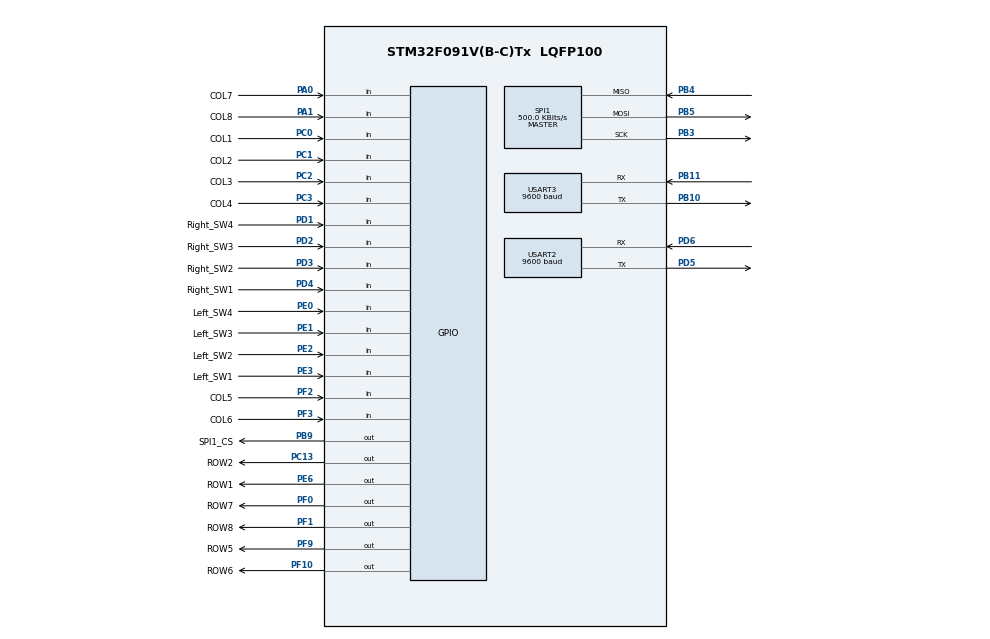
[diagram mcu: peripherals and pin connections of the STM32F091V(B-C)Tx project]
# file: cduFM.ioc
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Mcu.Family=STM32F0
Mcu.Name=STM32F091V(B-C)Tx
Mcu.Package=LQFP100
NVIC.RCC_CRS_IRQn=true\:0\:0\:false\:false\:true\:true\:false\:true
NVIC.USART2_IRQn=true\:0\:0\:false\:false\:true\:true\:true\:true
NVIC.USART3_8_IRQn=true\:0\:0\:false\:false\:true\:true\:true\:true
PA0.GPIO_Label=COL7
PA0.Signal=GPIO_Input
PA1.GPIO_Label=COL8
PA1.Signal=GPIO_Input
PA13.Mode=Serial_Wire
PA13.Signal=SYS_SWDIO
PA14.Mode=Serial_Wire
PA14.Signal=SYS_SWCLK
PB10.Mode=Asynchronous
PB10.Signal=USART3_TX
PB11.Mode=Asynchronous
PB11.Signal=USART3_RX
PB3.Mode=Full_Duplex_Master
PB3.Signal=SPI1_SCK
PB4.Mode=Full_Duplex_Master
PB4.Signal=SPI1_MISO
PB5.Mode=Full_Duplex_Master
PB5.Signal=SPI1_MOSI
PB9.GPIO_FM9=__NULL
PB9.GPIO_Label=SPI1_CS
PB9.GPIO_Speed=GPIO_SPEED_FREQ_LOW
PB9.PinState=GPIO_PIN_SET
PB9.Signal=GPIO_Output
PC0.GPIO_Label=COL1
PC0.Signal=GPIO_Input
PC1.GPIO_Label=COL2
PC1.Signal=GPIO_Input
PC13.GPIO_Label=ROW2
PC13.PinState=GPIO_PIN_SET
PC13.Signal=GPIO_Output
PC14OSC32_IN.GPIO_Label=ROW3
PC14OSC32_IN.PinState=GPIO_PIN_SET
PC14OSC32_IN.Signal=GPIO_Output
PC15OSC32_OUT.GPIO_Label=ROW4
PC15OSC32_OUT.PinState=GPIO_PIN_SET
PC15OSC32_OUT.Signal=GPIO_Output
PC2.GPIO_Label=COL3
PC2.Signal=GPIO_Input
PC3.GPIO_Label=COL4
PC3.Signal=GPIO_Input
PD1.GPIO_Label=Right_SW4
PD1.Signal=GPIO_Input
PD2.GPIO_Label=Right_SW3
PD2.Signal=GPIO_Input
PD3.GPIO_Label=Right_SW2
PD3.Signal=GPIO_Input
PD4.GPIO_Label=Right_SW1
PD4.Signal=GPIO_Input
PD5.Mode=Asynchronous
PD5.Signal=USART2_TX
PD6.GPIO_PuPd=GPIO_PULLUP
PD6.Mode=Asynchronous
PD6.Signal=USART2_RX
PE0.GPIO_Label=Left_SW4
PE0.Signal=GPIO_Input
PE1.GPIO_Label=Left_SW3
PE1.Signal=GPIO_Input
PE2.GPIO_Label=Left_SW2
PE2.Signal=GPIO_Input
PE3.GPIO_Label=Left_SW1
PE3.Signal=GPIO_Input
PE6.GPIO_Label=ROW1
PE6.PinState=GPIO_PIN_SET
PE6.Signal=GPIO_Output
PF0-OSC_IN.GPIO_Label=ROW7
PF0-OSC_IN.PinState=GPIO_PIN_SET
PF0-OSC_IN.Signal=GPIO_Output
PF1-OSC_OUT.GPIO_Label=ROW8
PF1-OSC_OUT.PinState=GPIO_PIN_SET
PF1-OSC_OUT.Signal=GPIO_Output
PF10.GPIO_Label=ROW6
PF10.PinState=GPIO_PIN_SET
PF10.Signal=GPIO_Output
PF2.GPIO_Label=COL5
PF2.Signal=GPIO_Input
PF3.GPIO_Label=COL6
PF3.Signal=GPIO_Input
PF9.GPIO_Label=ROW5
PF9.PinState=GPIO_PIN_SET
PF9.Signal=GPIO_Output
ProjectManager.HeapSize=0x200
ProjectManager.StackSize=0x400
ProjectManager.TargetToolchain=STM32CubeIDE
SPI1.BaudRatePrescaler=SPI_BAUDRATEPRESCALER_16
SPI1.CalculateBaudRate=500.0 KBits/s
SPI1.DataSize=SPI_DATASIZE_8BIT
SPI1.Direction=SPI_DIRECTION_2LINES
SPI1.Mode=SPI_MODE_MASTER
SPI1.VirtualType=VM_MASTER
USART2.BaudRate=9600
USART2.VirtualMode-Asynchronous=VM_ASYNC
USART3.BaudRate=9600
USART3.VirtualMode-Asynchronous=VM_ASYNC
board=custom

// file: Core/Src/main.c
/* USER CODE BEGIN Header */
/**
  ******************************************************************************
  * @file           : main.c
  * @brief          : Main program body
  ******************************************************************************
  * @attention
  *
  * Copyright (c) 2024 STMicroelectronics.
  * All rights reserved.
  *
  * This software is licensed under terms that can be found in the LICENSE file
  * in the root directory of this software component.
  * If no LICENSE file comes with this software, it is provided AS-IS.
  *
  ******************************************************************************
  */
/* USER CODE END Header */
#include "main.h"
#include "spi.h"
#include "spif.h"
#include "usart.h"
#include "gpio.h"

#include "NAVScreen.h"
#include "ADFScreen.h"

#define FLASHUPDATEDELAY 10000	//update flash after 10 whenever there is a change in any value.

SPIF_HandleTypeDef spif;

globalvar_t gVar;
uint8_t read[1];
uint8_t write[1];

/* USER CODE BEGIN PV */
SerialStruct BuffUART2;
SerialStruct BuffUART3;

ScreenParams NavScreenParams;
ScreenParams AdfScreenParams;

extern lcdCmdDisp_id currentScreen, NextScreen;

softKey_t softKey;

extern MkeyStatus_t MkeyStatus;
extern keyPad_t keyPad;
/* USER CODE END PV */

void SystemClock_Config(void);

/* USER CODE BEGIN 0 */
uint8_t UART_ReceivString(SerialStruct * BuffUART, char *str, int NumChar) {

	int Head = BuffUART->RXindex, istr = 0;;
//	for (int i = 0; i< BUFLENMASK; i++){
//		if (BuffUART->RXbuffer[(Head+i+1) & (BUFLENMASK)] == '$') break;
//		Head ++;
//	}
	if (Head < BuffUART->RXTail) Head += MAXBUFLEN;
	for (int i = BuffUART->RXTail; i < Head; i++){
		if(BuffUART->RXbuffer[i] == '$') istr = 0;
		str[istr++] = BuffUART->RXbuffer[i];
		if ((BuffUART->RXbuffer[i & (BUFLENMASK)] == '\n') || (istr > NumChar)){
			str[istr++] = '\r';
			str[istr] = 0;
			BuffUART->RXTail = i+1;
			return istr;
		}
	}
	return 0;
//	uint8_t n = 0;
//
//	n = (BuffUART->RXindex - BuffUART->RXTail) & (BUFLENMASK);
//
//	if((n < NumChar) || (NumChar <= 0)){
//		return 0;
//	}
//
//	n = 0;
//
//	while (NumChar--)
//	{
//		str[n++] = BuffUART->RXbuffer[BuffUART->RXTail++];
//	}
//	return NumChar;
}

void UART_SendString(UART_HandleTypeDef *huart, SerialStruct * BuffUART, const char *str, int NumChar) {

	uint8_t n = 0;

	BuffUART->TXbuflen = NumChar;//= strlen(str);
	while (BuffUART->TXbuflen > (MAXBUFLEN - BuffUART->LoadIndex));

	while (BuffUART->TXbuflen--)
	{
		BuffUART->TXbuffer[BuffUART->LoadIndex++] = str[n++];
	}

	// Start transmission if this is first byte in buffer
	if(BuffUART->TXindex == 0)
	{
		if (huart->Instance == USART2)
		{
			huart2.Instance->TDR = BuffUART->TXbuffer[BuffUART->TXindex++];
			__HAL_UART_ENABLE_IT(&huart2, UART_IT_TXE);
		}
		else if (huart->Instance == USART3)
		{
			huart3.Instance->TDR = BuffUART->TXbuffer[BuffUART->TXindex++];
			__HAL_UART_ENABLE_IT(&huart3, UART_IT_TXE);
		}
	}

    //uint16_t len = strlen(str);
    //for (uint16_t i = 0; i < len; i++) {
    //    uint16_t BuffUART.next_head = (tx_head + 1) % UART_BUFFER_SIZE;
    //    while (next_head == tx_tail); // Wait if buffer is full
    //    tx_buffer[tx_head] = str[i];
    //    tx_head = next_head;
    //}
    //__HAL_UART_ENABLE_IT(&huart1, UART_IT_TXE); // Enable TXE interrupt
}

//void toDisplay() {						//reads sectors from the SPI flash memory and updates the eepDisplay
//	for (int i = 0; i < 16; ++i) {
//		eepDisplay[i] = -1;
//	}
//	count = 0;
//	for (int i = 0; i < 16; i++) {
//		SPIF_ReadSector(&spif, i, read, 1, 0);
//		if (read[0] != 255) {
//			eepDisplay[count] = i;
//			count++;
//		}
//	}
//}

//void toAdd(const char* dN, int dM, int dK) {		//adds a new entry to the first available empty sector in the SPI flash memory
//  for (int i = 0; i < 16; i ++) {
//	SPIF_ReadSector(&spif, i, read, 1, 0);
//    if (read[0] == 255) {
//      for (int j = 0; j < 7; j++) {
//    	write[0] = dN[j];
//    	SPIF_WriteSector(&spif, i, write, 1, j);
//      }
//	  write[0] = dM;
//	  SPIF_WriteSector(&spif, i, write, 1, 7);
//	  write[0] = dK/25;
//	  SPIF_WriteSector(&spif, i, write, 1, 8);
//      break;
//    }
//  }
//}

//void toDelete(int index) {		//erases a specific sector in the SPI flash memory, effectively marking it as empty.
//	SPIF_EraseSector(&spif, index);
//}
//
//void storestate() { // called when turned off			stores the current state of the system in a specific sector of the SPI flash memory.
//  SPIF_EraseSector(&spif, 20);
//  write[0] = MHz;
//  SPIF_WriteSector(&spif, 20, write, 1, 0);
//  write[0] = KHz/25;
//  SPIF_WriteSector(&spif, 20, write, 1, 1);
//  write[0] = SM;
//  SPIF_WriteSector(&spif, 20, write, 1, 2);
//  write[0] = SK/25;
//  SPIF_WriteSector(&spif, 20, write, 1, 3);
//  write[0] = vol;
//  SPIF_WriteSector(&spif, 20, write, 1, 4);
//  write[0] = obs;
//}

//void loadstate() { // called on startup					loads the system state from a specific sector in the SPI flash memory on startup.
//  SPIF_ReadSector(&spif, 20, read, 1, 0);
//  MHz = read[0];
//  if (MHz > 117) MHz = 117;
//  if (MHz < 108) MHz = 108;
//  SPIF_ReadSector(&spif, 20, read, 1, 1);
//  KHz = read[0] * 25;
//  if(KHz > 950) KHz = 950;
//  SPIF_ReadSector(&spif, 20, read, 1, 2);
//  SM = read[0];
//  if (SM > 117) SM = 117;
//  if (SM < 108) SM = 108;
//  SPIF_ReadSector(&spif, 20, read, 1, 3);
//  SK = read[0] * 25;
//  if(SK > 950) SK = 950;
//  SPIF_ReadSector(&spif, 20, read, 1, 4);	//1 is not bytes to be read
//  vol = read[0];
//  SPIF_ReadSector(&spif, 20, read, 1, 5);	//5 is Offset: The starting point within the sector to begin reading from.
//  obs = read[0];
//  freq = MHz + (.001 * KHz);
//  Standby = SM + (.001 * SK);
//}

void MhzKhz2freq(int MHz, int KHz, double* freq){
	if (freq != NULL) {
        *freq = MHz + (KHz / 1000.0);
    }
}

void freq2MhzKhz(double num, volatile int *MHz, volatile int *KHz) {
	*MHz = (int)num; // Integer part as MHz
	*KHz = (int)((num - *MHz) * 1000 + 0.5); // Fractional part as kHz
}

void checksum(const char* str, char* result) {	//calculates a checksum from a given string and stores the result in a character array
    unsigned int sum = 0;
    const char* ptr = str;

    if (*ptr != '\0') {
        ptr += 6;			//starting after the first 6 characters (possibly skipping a header like e.g: "$PATCN")
    }

    while (*ptr != '\0') {//// Loop through the rest of the string
        sum += *ptr;		 // Sum up the ASCII values of the characters
        ptr++;
    }

    sum &= 0xFF;	// Keep only the least significant byte of the sum

    result[0] = ((sum >> 4) & 0xF) + 0x30;	// Convert high nibble (4 bits) to ASCII
    result[1] = (sum & 0xF) + 0x30;			// Convert low nibble (4 bits) to ASCII

    result[2] = '\0';
}

void concatTwoChars(char* base, const char* woo) {
    while (*base) { // Move to the end of the base string
        base++;
    }
    while (*woo) { // Copy the characters from toAdd
        *base = *woo;
        base++;
        woo++;
    }
    *base = '\0'; // Null terminate the resulting string
}

void Sender2rcu(const char * str, int mode) { //TODO				construct and send a message (likely over UART)
    char crlf[] = {'\r','\n', 0};
    uint8_t str2[25]; // Array to hold the constructed string in ASCII

    memset(str2, 0, sizeof(str2)); // Initialize the array with zeros

    if (mode == 0) {
        char m = str[0];
        char k = str[1];
        snprintf((char*)str2, sizeof(str2), "$PATCN27%c%cN", m, k);
        char end2[3];
        checksum((char*)str2, end2);
        concatTwoChars((char*)str2, end2);
        concatTwoChars((char*)str2, crlf);
    } else if (mode == 1) {
        char m = str[0];
        char k = str[1];
        snprintf((char*)str2, sizeof(str2), "$PATCN28%c%cN", m, k);
        char end3[3];
        checksum((char*)str2, end3);
        concatTwoChars((char*)str2, end3);
        concatTwoChars((char*)str2, crlf);
    } else if (mode == 2) {
        char v = str[0];
        snprintf((char*)str2, sizeof(str2), "$PATCN73%c", v);
        char end4[3];
        checksum((char*)str2, end4);
        concatTwoChars((char*)str2, end4);
        concatTwoChars((char*)str2, crlf);
    } else if (mode == 3) {
//        snprintf((char*)str2, sizeof(str2), "$PATCN34%03d", obs);
//        char end5[3];
//        checksum((char*)str2, end5);
//        concatTwoChars((char*)str2, end5);
        concatTwoChars((char*)str2, crlf);
    }

    UART_SendString(&huart3, &BuffUART3, str2, strlen((char*)str2));
}

bool Test_Pattern (char * msg, char * pattern) {
	if(*msg != *pattern) return false;
	if(*(msg+1) != *(pattern+1)) return false;
	return true;
}

void decodeCduMessage(void )
{
	uint16_t rxBuffLen;
	char rxBuffer[20];
	bool rxfreercu = false;
	rxBuffLen = UART_ReceivString(&BuffUART3, rxBuffer, sizeof(rxBuffer));

	if(rxBuffLen > 0 && rxBuffer[0] == '$' && rxBuffer[1] == 'P' && rxBuffer[2] == 'A' && rxBuffer[3] == 'T' && rxBuffer[4] == 'C')
	{
	  rxfreercu = true;
	}

	if(rxfreercu)
	{
		rxfreercu = false;
	  if(rxBuffer[5] == 'N')
	  {
		  if(Test_Pattern(&rxBuffer[6], "27"))
		  {
			  float rxfreq;
			  rxfreq = (rxBuffer[8] + 48) + ((rxBuffer[9] - 48) * .025); // active frequency
			  if (rxfreq != NavScreenParams.Active.freq)
			  {
				  NavScreenParams.Active.freq = rxfreq;
//				  MHz = rxBuffer[8] + 48;
//				  KHz = (rxBuffer[9] - 48) * .025;
			  }
			  else
			  {

			  }
		  }
		  else if(Test_Pattern(&rxBuffer[6], "28"))// standby frequency
		  {
			  float rxfreq;
			  rxfreq = (rxBuffer[8] + 48) + ((rxBuffer[9] - 48) * .025);
			  if (rxfreq != NavScreenParams.Standby.freq)
			  {
				  NavScreenParams.Standby.freq = rxfreq;
//				  SM = rxBuffer[8] + 48;
//				  SK = (rxBuffer[9] - 48) * .025;
			  }
			  else
			  {

			  }
		  }
//		  else if(Test_Pattern(&rxBuffer[6], "34"))// obs value
//		  {
//			  int i, val = 0;
//			  for (i = 8; i <= 10; i++) {
//					  val = val * 10 + (rxBuffer[i] - '0');
//				  }
//			  if (val != obs)
//			  {
//				  obs = val;
//			  }
//			  else
//			  {
//				  //do nothing
//			  }
//		  }
//		  else if(Test_Pattern(&rxBuffer[6], "73"))// volume level
//		  {
//			  int val;
//			  val = rxBuffer[8] - '0'; // subtracting 48
//			  if (val != vol)
//			  {
//				  vol = val;
//			  }
//			  else
//			  {
//				  //do nothing
//			  }
//		  }
	  }
	}
	HAL_Delay(1);
}

/* USER CODE END 0 */

int main(void)
{

  /* USER CODE BEGIN 1 */

  uint8_t key;
  /* USER CODE END 1 */

  /* MCU Configuration--------------------------------------------------------*/

  /* Reset of all peripherals, Initializes the Flash interface and the Systick. */
  HAL_Init();

  /* Configure the system clock */
  SystemClock_Config();

  /* Initialize all configured peripherals */
  MX_GPIO_Init();
  MX_USART2_UART_Init();
  MX_USART3_UART_Init();
  __HAL_UART_ENABLE_IT(&huart3, UART_IT_RXNE);
  MX_SPI1_Init();
  /* USER CODE BEGIN 2 */

  SPIF_Init(&spif, &hspi1, SPI1_CS_GPIO_Port, SPI1_CS_Pin);

  KeyS_init();

//  loadstate();
  //----------------------------------------------------------------------------------------------------------

  NavScreenParams.Active.freq = 118.0;
  freq2MhzKhz(NavScreenParams.Active.freq, &NavScreenParams.Active.MHz, &NavScreenParams.Active.KHz);
  //  NavScreenParams.Active.MHz = 118;
  //  NavScreenParams.Active.KHz = 0;
  NavScreenParams.Standby.freq = 108.4;
  freq2MhzKhz(NavScreenParams.Standby.freq, &NavScreenParams.Standby.MHz, &NavScreenParams.Standby.KHz);
  NavScreenParams.Standby.tileSize = 2;
  //  NavScreenParams.Standby.MHz = 108;
  //  NavScreenParams.Standby.KHz = 4;
  NavScreenParams.page = false; // means page0
  NavScreenParams.P1.freq = 123.45;
  NavScreenParams.P1.tileSize = 3;
  NavScreenParams.P3.freq = 354.85;
  NavScreenParams.P6.freq = 534.15;
  NavScreenParams.P8.freq = 878.98;

  static double Nav_afreq_last = 118.0;
  static double Nav_sfreq_last = 108.4;

  //----------------------------------------------------------------------------------------------------------

  AdfScreenParams.Active.freq = 108.0;
  freq2MhzKhz(AdfScreenParams.Active.freq, &AdfScreenParams.Active.MHz, &AdfScreenParams.Active.KHz);
  //  AdfScreenParams.Active.MHz = 118;
  //  AdfScreenParams.Active.KHz = 0;
  AdfScreenParams.Standby.freq = 118.4;
  freq2MhzKhz(AdfScreenParams.Standby.freq, &AdfScreenParams.Standby.MHz, &AdfScreenParams.Standby.KHz);
  AdfScreenParams.Standby.tileSize = 2;
  //  AdfScreenParams.Standby.MHz = 108;
  //  AdfScreenParams.Standby.KHz = 4;
  AdfScreenParams.page = false; // means page0
  AdfScreenParams.P1.freq = 125.45;
  AdfScreenParams.P1.tileSize = 3;
  AdfScreenParams.P3.freq = 334.85;
  AdfScreenParams.P6.freq = 536.15;
  AdfScreenParams.P8.freq = 877.98;

  static double Adf_afreq_last = 108.0;
  static double Adf_sfreq_last = 118.4;

  //----------------------------------------------------------------------------------------------------------

  InitializeLCD();
  //Matrix_keypad_Basic_test();
  //  KeyS_init();
  /* USER CODE END 2 */

  gVar.flashDirty = true;	// to store the data from RAM to Flash
  gVar.updateFlashTimer = HAL_GetTick();

  /* Infinite loop */
  /* USER CODE BEGIN WHILE */
  while (1)
  {
	  softKey = check_soft_keys();
	  switch(currentScreen)
	  {
	  case lcdDisp_home:
		  if(softKey == L1)
		  {
			  currentScreen = lcdWaitForSW;
			  NextScreen = lcdDisp_nav;
			  DispNAVscreen(&NavScreenParams);
		  }
		  if(softKey == L2)
		  {
			  currentScreen = lcdWaitForSW;
			  NextScreen = lcdDisp_adf;
			  DispADFscreen(&AdfScreenParams);
		  }
		  if(softKey == L3)
		  {
			  currentScreen = lcdWaitForSW;
			  NextScreen = lcdDisp_tacan;
			  DispTACANscreen();
		  }
		  break;

	  case lcdWaitForSW:
		  if (softKey == idle) currentScreen = NextScreen;

		  break;

	  case lcdDisp_nav:
		  //MkeyStatus = keyPad_Scan();

		  key = NavScreenStateMachine(&NavScreenParams, softKey);

		  if (NavScreenParams.Active.freq != Nav_afreq_last){
			  gVar.flashDirty = true;
			  gVar.updateFlashTimer = HAL_GetTick();

				//ChangedNavParam(nStandbyFreq, (void *) &NavScreenParams.Standby.freq);
				ChangedNavParam(nActiveFreq, (void *) &NavScreenParams.Active.freq);

			  freq2MhzKhz(NavScreenParams.Active.freq, &NavScreenParams.Active.MHz, &NavScreenParams.Active.KHz);
			  //freq2MhzKhz(NavScreenParams.Standby.freq, &NavScreenParams.Standby.MHz, &NavScreenParams.Standby.KHz);

			  int MA = NavScreenParams.Active.MHz - 48;
			  int KA = (NavScreenParams.Active.KHz/25) + 48;
			  char m = (char)MA;
			  char k = (char)KA;
			  char Mfinal[3] = {m,k,0};
			  Sender2rcu(Mfinal,0); //sending also to rcu for synchronization

//			  MA = NavScreenParams.Standby.MHz - 48;
//			  KA = (NavScreenParams.Standby.KHz/25) + 48;
//			  m = (char)MA;
//			  k = (char)KA;
//			  char Sfinal[3] = {m,k,0};
//
//			  Sender2rcu(Sfinal,1); //sending also to rcu for synchronization

			  //Nav_sfreq_last = NavScreenParams.Standby.freq;
			  Nav_afreq_last = NavScreenParams.Active.freq;

		  }
		  if (NavScreenParams.Standby.freq != Nav_sfreq_last){
			  gVar.flashDirty = true;
			  gVar.updateFlashTimer = HAL_GetTick();

				ChangedNavParam(nStandbyFreq, (void *) &NavScreenParams.Standby.freq);
				//ChangedNavParam(nActiveFreq, (void *) &NavScreenParams.Active.freq);

			  //freq2MhzKhz(NavScreenParams.Active.freq, &NavScreenParams.Active.MHz, &NavScreenParams.Active.KHz);
			  freq2MhzKhz(NavScreenParams.Standby.freq, &NavScreenParams.Standby.MHz, &NavScreenParams.Standby.KHz);

//			  int MA = NavScreenParams.Active.MHz - 48;
//			  int KA = (NavScreenParams.Active.KHz/25) + 48;
//			  char m = (char)MA;
//			  char k = (char)KA;
//			  char Mfinal[3] = {m,k,0};
//			  Sender2rcu(Mfinal,0); //sending also to rcu for synchronization

			  int MA = NavScreenParams.Standby.MHz - 48;
			  int KA = (NavScreenParams.Standby.KHz/25) + 48;
			  char m = (char)MA;
			  char k = (char)KA;
			  char Sfinal[3] = {m,k,0};

			  Sender2rcu(Sfinal,1); //sending also to rcu for synchronization

			  Nav_sfreq_last = NavScreenParams.Standby.freq;
			  //Nav_afreq_last = NavScreenParams.Active.freq;

		  }

		  if (key == 'h')	// HOME button
		  {
			  currentScreen = lcdDisp_home;
			  DispHomeScreen();
		  }
		  else if(key == 0)
		  {
			  // do nothing here
		  }
		  break;

	  case lcdDisp_adf:
	//		  MkeyStatus = keyPad_Scan();
		  key = AdfScreenStateMachine(&AdfScreenParams, softKey);

		  if (AdfScreenParams.Active.freq != Adf_afreq_last || AdfScreenParams.Standby.freq != Adf_sfreq_last)
		  {
			  gVar.flashDirty = true;
			  gVar.updateFlashTimer = HAL_GetTick();

			  freq2MhzKhz(AdfScreenParams.Active.freq, &AdfScreenParams.Active.MHz, &AdfScreenParams.Active.KHz);
			  freq2MhzKhz(AdfScreenParams.Standby.freq, &AdfScreenParams.Standby.MHz, &AdfScreenParams.Standby.KHz);

			  int MA = AdfScreenParams.Active.MHz - 48;
			  int KA = (AdfScreenParams.Active.KHz/25) + 48;
			  char m = (char)MA;
			  char k = (char)KA;
			  char Mfinal[3] = {m,k,0};
			  Sender2rcu(Mfinal,0); //sending also to rcu for synchronization

			  MA = AdfScreenParams.Standby.MHz - 48;
			  KA = (AdfScreenParams.Standby.KHz/25) + 48;
			  m = (char)MA;
			  k = (char)KA;
			  char Sfinal[3] = {m,k,0};

			  Sender2rcu(Sfinal,1); //sending also to rcu for synchronization

			  Adf_sfreq_last = AdfScreenParams.Standby.freq;
			  Adf_afreq_last = AdfScreenParams.Active.freq;

		  }

		  if (key == 'h')	// HOME button
		  {
			  currentScreen = lcdDisp_home;
			  DispHomeScreen();
		  }
		  else if(key == 0)
		  {
			  // do nothing here
		  }
		  break;

	  case lcdDisp_tacan:
		  MkeyStatus = keyPad_Scan();
		  if (keyPad.key == 0x101)	// to be checked later
		  {
			  currentScreen = lcdDisp_home;
			  DispHomeScreen();
		  }
		  else if(keyPad.key == 0)
		  {
			  // do nothing here
		  }
		  break;
	  default:
		  break;
	  }
	  if(gVar.flashDirty)
	  {
		  if((HAL_GetTick() - gVar.updateFlashTimer) >= FLASHUPDATEDELAY)
		  {
//			  storestate();
			  gVar.flashDirty = false;
//			  gVar.updateFlashTimer = HAL_GetTick();
		  }

	  }
	  decodeCduMessage();
  }
  /* USER CODE END 3 */
}

void SystemClock_Config(void)
{
  RCC_OscInitTypeDef RCC_OscInitStruct = {0};
  RCC_ClkInitTypeDef RCC_ClkInitStruct = {0};
  RCC_PeriphCLKInitTypeDef PeriphClkInit = {0};

  /** Initializes the RCC Oscillators according to the specified parameters
  * in the RCC_OscInitTypeDef structure.
  */
  RCC_OscInitStruct.OscillatorType = RCC_OSCILLATORTYPE_HSI;
  RCC_OscInitStruct.HSIState = RCC_HSI_ON;
  RCC_OscInitStruct.HSICalibrationValue = RCC_HSICALIBRATION_DEFAULT;
  RCC_OscInitStruct.PLL.PLLState = RCC_PLL_NONE;
  if (HAL_RCC_OscConfig(&RCC_OscInitStruct) != HAL_OK)
  {
    Error_Handler();
  }

  /** Initializes the CPU, AHB and APB buses clocks
  */
  RCC_ClkInitStruct.ClockType = RCC_CLOCKTYPE_HCLK|RCC_CLOCKTYPE_SYSCLK
                              |RCC_CLOCKTYPE_PCLK1;
  RCC_ClkInitStruct.SYSCLKSource = RCC_SYSCLKSOURCE_HSI;
  RCC_ClkInitStruct.AHBCLKDivider = RCC_SYSCLK_DIV1;
  RCC_ClkInitStruct.APB1CLKDivider = RCC_HCLK_DIV1;

  if (HAL_RCC_ClockConfig(&RCC_ClkInitStruct, FLASH_LATENCY_0) != HAL_OK)
  {
    Error_Handler();
  }
  PeriphClkInit.PeriphClockSelection = RCC_PERIPHCLK_USART3|RCC_PERIPHCLK_USART2;
  PeriphClkInit.Usart2ClockSelection = RCC_USART2CLKSOURCE_PCLK1;
  PeriphClkInit.Usart3ClockSelection = RCC_USART3CLKSOURCE_PCLK1;
  if (HAL_RCCEx_PeriphCLKConfig(&PeriphClkInit) != HAL_OK)
  {
    Error_Handler();
  }
}

void Error_Handler(void)
{
  __disable_irq();
  while (1)
  {
  }
}
